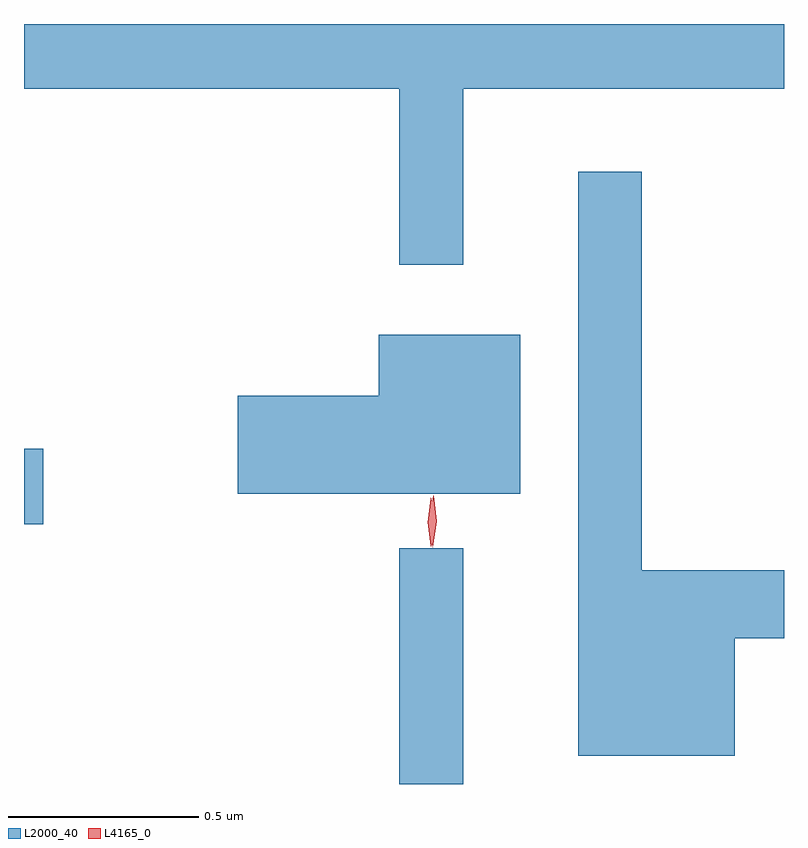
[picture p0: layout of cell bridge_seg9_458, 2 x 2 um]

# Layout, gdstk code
import gdstk
lib = gdstk.Library(unit=1e-6, precision=1e-09)
def R(c, l, rs):  # rectangles x0, y0, x1, y1
    for r in rs: c.add(gdstk.rectangle(r[:2], r[2:], *l))
def P(c, l, *ps):  # polygons
    for p in ps: c.add(gdstk.Polygon(p, *l))
L2000_40 = (2000, 40)
L4165_0 = (4165, 0)

bridge_seg9_458 = lib.new_cell('bridge_seg9_458')
R(bridge_seg9_458, L2000_40, [(377.041,2038.827,377.209,2039.448), (376.053,2039.511,376.104,2039.709)])
P(bridge_seg9_458, L2000_40, [(377.209,2040.656),(378.053,2040.656),(378.053,2040.827),(376.053,2040.827),(376.053,2040.656),(377.041,2040.656),(377.041,2040.193),(377.209,2040.193)],
  [(377.924,2039.211),(378.053,2039.211),(378.053,2039.389),(377.679,2039.389),(377.679,2040.438),(377.511,2040.438),(377.511,2038.901),(377.924,2038.901)],
  [(377.359,2040.009),(376.986,2040.009),(376.986,2039.849),(376.616,2039.849),(376.616,2039.591),(377.359,2039.591)])
P(bridge_seg9_458, L4165_0, [(377.128,2039.45),(377.128,2039.45),(377.12,2039.518),(377.13,2039.586),(377.13,2039.586),(377.131,2039.586),(377.139,2039.518),(377.129,2039.45)],
  [(377.124,2039.453),(377.115,2039.516),(377.124,2039.579),(377.124,2039.58),(377.125,2039.579),(377.135,2039.516),(377.125,2039.453),(377.125,2039.453)])

lib.write_gds('bridge_seg9_458.gds')
